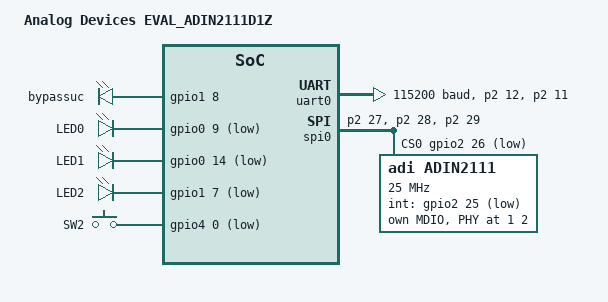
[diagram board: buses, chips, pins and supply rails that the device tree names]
/*
 * Copyright (c) 2023-2024 Analog Devices, Inc.
 *
 * SPDX-License-Identifier: Apache-2.0
 */

/dts-v1/;

#include <adi/max32/max32690.dtsi>
#include <adi/max32/max32690-pinctrl.dtsi>
#include <zephyr/dt-bindings/gpio/adi-max32-gpio.h>
#include <zephyr/dt-bindings/input/input-event-codes.h>

/ {
	model = "Analog Devices EVAL_ADIN2111D1Z";
	compatible = "adi,eval-adin2111d1z";

	chosen {
		zephyr,console = &uart0;
		zephyr,shell-uart = &uart0;
		zephyr,sram = &sram0;
		zephyr,flash = &flash0;
	};


	leds {
		compatible = "gpio-leds";

		bypass_relay: bypass_relay_uc {
			gpios = <&gpio1 8 (GPIO_ACTIVE_HIGH)>;
			label = "bypassuc";
		};
		orange_led: led_0 {
			gpios = <&gpio0 9 (GPIO_ACTIVE_LOW)>;
			label = "LED0";
		};
		green_led: led_1 {
			gpios = <&gpio0 14 (GPIO_ACTIVE_LOW) >;
			label = "LED1";
		};
		red_led: led_2 {
			gpios = <&gpio1 7 GPIO_ACTIVE_LOW>;
			label = "LED2";
		};
	};

	buttons {
		compatible = "gpio-keys";
		pb0: pb0 {
			gpios = <&gpio4 0 (GPIO_PULL_UP | GPIO_ACTIVE_LOW)>;
			label = "SW2";
		};
	};

	aliases {
		bypassuc = &bypass_relay;
		led0 = &orange_led;
		led1 = &green_led;
		led2 = &red_led;
		sw0 = &pb0;
	 };
};
&clk_ipo {
	status = "okay";
};

&clk_ibro {
	status = "okay";
};

&gpio0 {
	status = "okay";
};

&gpio1 {	
	status = "okay";
};

&gpio2 {
	status = "okay";
};

&gpio3 {
	status = "okay";
};

&gpio4 {
	status = "okay";
};



&uart0 { /*USB-C P4*/
	clock-source = <ADI_MAX32_PRPH_CLK_SRC_IBRO>;
	pinctrl-0 = <&uart0a_tx_p2_12 &uart0a_rx_p2_11>;
	pinctrl-names = "default";
	current-speed = <115200>;
	data-bits = <8>;
	parity = "none";
	status = "okay";
};

/*Support for PMOD SPI UART I2C to add*/
/*Support for JTAG*/

&spi0b_miso_p2_27 {
	power-source = <MAX32_VSEL_VDDIOH>;
};

&spi0b_mosi_p2_28 {
	power-source = <MAX32_VSEL_VDDIOH>;
};

&spi0b_sck_p2_29 {
	power-source = <MAX32_VSEL_VDDIOH>;
};

&spi0b_ss1_p2_26 {
	power-source = <MAX32_VSEL_VDDIOH>;
};

&spi0 {
	pinctrl-0 = <&spi0b_miso_p2_27 &spi0b_mosi_p2_28 &spi0b_sck_p2_29>;
	pinctrl-names = "default";
	cs-gpios = <&gpio2 26 (GPIO_ACTIVE_LOW | GPIO_PULL_UP)>;
	status = "okay";

	adin2111: adin2111@0 {
		compatible = "adi,adin2111";
		reg = <0x0>;
		spi-max-frequency = <25000000>;
		int-gpios = <&gpio2 25 (GPIO_ACTIVE_LOW | MAX32_GPIO_VSEL_VDDIOH)>;
		status = "okay";
		spi-oa;
		spi-oa-protection;

		port1 {
			local-mac-address = [ 00 E0 22 FE DA C9 ];
			status = "okay";
		};
		port2 {
			local-mac-address = [ 00 E0 22 FE DA D9 ];
			status = "okay";
		};
		mdio {
			compatible = "adi,adin2111-mdio";
			#address-cells = <1>;
			#size-cells = <0>;
			status = "okay";

			ethernet-phy@1 {
				reg = <0x1>;
				compatible = "adi,adin2111-phy";
				status = "okay";
			};
			ethernet-phy@2 {
				reg = <0x2>;
				compatible = "adi,adin2111-phy";
				status = "okay";
			};
		};
	};
};
